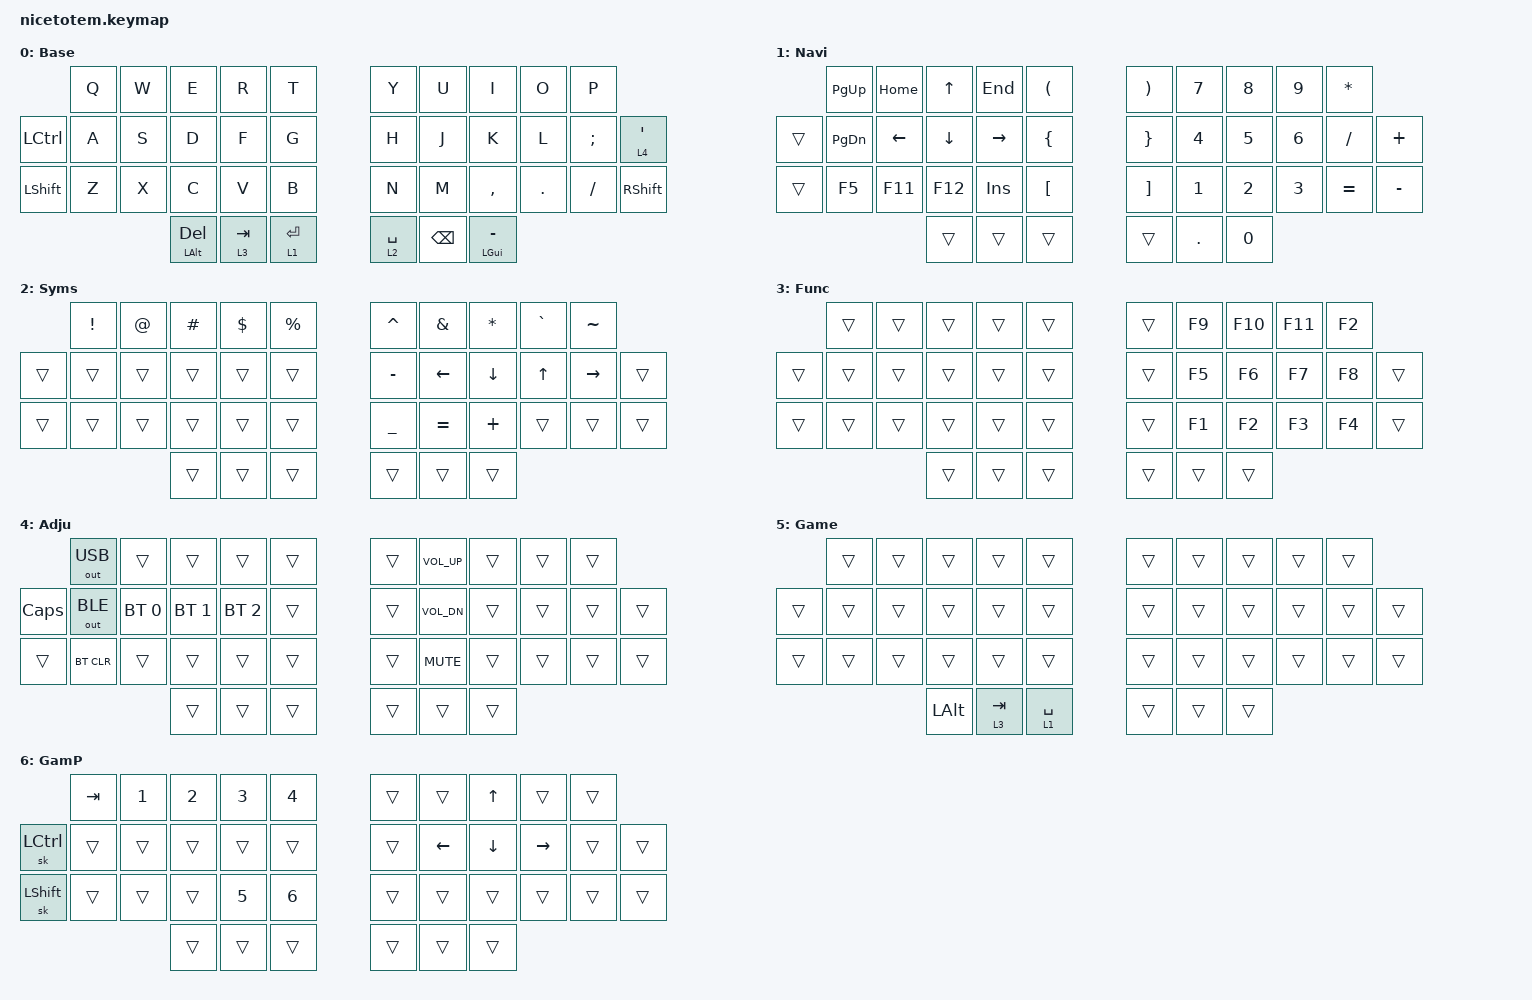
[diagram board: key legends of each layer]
#include <behaviors.dtsi>
#include <dt-bindings/zmk/keys.h>
#include <dt-bindings/zmk/bt.h>
#include <dt-bindings/zmk/outputs.h>

#define Base 0
#define Navi 1
#define Syms 2
#define Func 3
#define Adju 4
#define Game 5
#define GamP 6

&lt { quick_tap_ms = <220>; };
&mt { quick_tap_ms = <220>; };

/ {

    combos {
        compatible = "zmk,combos";
        
        combo_esc {
            timeout-ms = <50>;
            key-positions = <0 1>;
            bindings = <&kp ESC>;
        };

        combo_space {
            timeout-ms = <50>;
            key-positions = <26 27>;
            bindings = <&kp SPACE>;
        };

        combo_del {
            timeout-ms = <50>;
            key-positions = <8 9>;
            bindings = <&kp DEL>;
        };
        
        combo_lgui {
            timeout-ms = <50>;
            key-positions = <24 25>;
            bindings = <&kp LGUI>;
        };

        combo_right_b {
            timeout-ms = <50>;
            key-positions = <28 29>;
            bindings = <&kp B>;
        };

        combo_toggle_game_layer {
            timeout-ms = <50>;
            key-positions = <0 4>;
            layers = <1>;
            bindings = <&tog 5>;
        };

        combo_alt_f4 {
            timeout-ms = <50>;
            key-positions = <2 3>;
            layers = <1>;
            bindings = <&kp LA(F4)>;
        };

        combo_ctrl_f4 {
            timeout-ms = <50>;
            key-positions = <0 1>;
            layers = <1>;
            bindings = <&kp LC(F4)>;
        };

        combo_hanyeong {
            timeout-ms = <50>;
            key-positions = <30 31>;
            layers = <2>;
            bindings = <&kp RALT>;
        };

        combo_hanja {
            timeout-ms = <50>;
            key-positions = <31 32>;
            layers = <2>;
            bindings = <&kp RCTRL>;
        };

        combo_enter_gameonly {
            timeout-ms = <50>;
            key-positions = <26 27>;
            layers = <5>;
            bindings = <&kp ENTER>;
        };
    };

    keymap {
        compatible = "zmk,keymap";

        Base {
            display-name = "Base";
            label = "Base";
            bindings = <
                        &kp Q       &kp W       &kp E          &kp R      &kp T                         &kp Y        &kp U       &kp I       &kp O       &kp P               
            &kp LCTRL   &kp A       &kp S       &kp D          &kp F      &kp G                         &kp H        &kp J       &kp K       &kp L       &kp SEMI    &lt 4 SQT
            &kp LSHIFT  &kp Z       &kp X       &kp C          &kp V      &kp B                         &kp N        &kp M       &kp COMMA   &kp DOT     &kp SLASH   &kp RSHIFT
                                                &mt LALT DEL   &lt 3 TAB  &lt 1 ENTER                   &lt 2 SPACE  &kp BSPC    &mt LGUI MINUS
            >;
        };

        Navi {
            display-name = "Navi";
            label = "Navi";
            bindings = <
                        &kp PG_UP   &kp HOME    &kp UP     &kp END    &kp LPAR                      &kp RPAR     &kp N7      &kp N8      &kp N9     &kp ASTRK              
            &trans      &kp PG_DN   &kp LEFT    &kp DOWN   &kp RIGHT  &kp LBRC                      &kp RBRC     &kp N4      &kp N5      &kp N6     &kp SLASH   &kp PLUS
            &trans      &kp F5      &kp F11     &kp F12    &kp INS    &kp LBKT                      &kp RBKT     &kp N1      &kp N2      &kp N3     &kp EQUAL   &kp MINUS
                                                &trans     &trans     &trans                        &trans       &kp DOT     &kp N0
            >;
        };

        Syms {
            display-name = "Syms";
            label = "Syms";
            bindings = <
                        &kp EXCL    &kp AT      &kp HASH      &kp DLLR      &kp PRCNT               &kp CARET    &kp AMPS    &kp ASTRK   &kp GRAVE   &kp TILDE  
            &trans      &trans      &trans      &trans        &trans        &trans                  &kp MINUS    &kp LEFT    &kp DOWN    &kp UP      &kp RIGHT     &trans
            &trans      &trans      &trans      &trans        &trans        &trans                  &kp UNDER    &kp EQUAL   &kp PLUS    &trans      &trans        &trans
                                                &trans        &trans        &trans                  &trans       &trans      &trans
            >;
        };

        Func {
            display-name = "Func";
            label = "Func";
            bindings = <
                    &trans  &trans  &trans  &trans  &trans          &trans  &kp F9  &kp F10 &kp F11 &kp F2  
            &trans  &trans  &trans  &trans  &trans  &trans          &trans  &kp F5  &kp F6  &kp F7  &kp F8  &trans
            &trans  &trans  &trans  &trans  &trans  &trans          &trans  &kp F1  &kp F2  &kp F3  &kp F4  &trans
                                    &trans  &trans  &trans          &trans  &trans  &trans
            >;
        };

        Adju {
            display-name = "Adju";
            label = "Adju";
            bindings = <
                        &out OUT_USB  &trans        &trans        &trans        &trans          &trans  &kp C_VOL_UP  &trans  &trans  &trans  
            &kp CAPS    &out OUT_BLE  &bt BT_SEL 0  &bt BT_SEL 1  &bt BT_SEL 2  &trans          &trans  &kp C_VOL_DN  &trans  &trans  &trans  &trans
            &trans      &bt BT_CLR    &trans        &trans        &trans        &trans          &trans  &kp C_MUTE    &trans  &trans  &trans  &trans
                                                    &trans        &trans        &trans          &trans  &trans        &trans
            >;
        };

        Game {
            display-name = "Game";
            label = "Game";
            bindings = <
                        &trans      &trans      &trans     &trans     &trans         &trans  &trans  &trans  &trans  &trans  
            &trans      &trans      &trans      &trans     &trans     &trans         &trans  &trans  &trans  &trans  &trans  &trans
            &trans      &trans      &trans      &trans     &trans     &trans         &trans  &trans  &trans  &trans  &trans  &trans
                                                &kp LALT   &lt 3 TAB  &lt 1 SPACE    &trans  &trans  &trans
            >;
        };

        GamP {
            display-name = "GamP";
            label = "GamP";
            bindings = <    
                       &kp TAB &kp N1  &kp N2  &kp N3  &kp N4          &trans  &trans    &kp UP    &trans     &trans  
            &sk LCTRL  &trans  &trans  &trans  &trans  &trans          &trans  &kp LEFT  &kp DOWN  &kp RIGHT  &trans  &trans
            &sk LSHIFT &trans  &trans  &trans  &kp N5  &kp N6          &trans  &trans    &trans    &trans     &trans  &trans
                                       &trans  &trans  &trans          &trans  &trans    &trans
            >;
        };
    };
};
